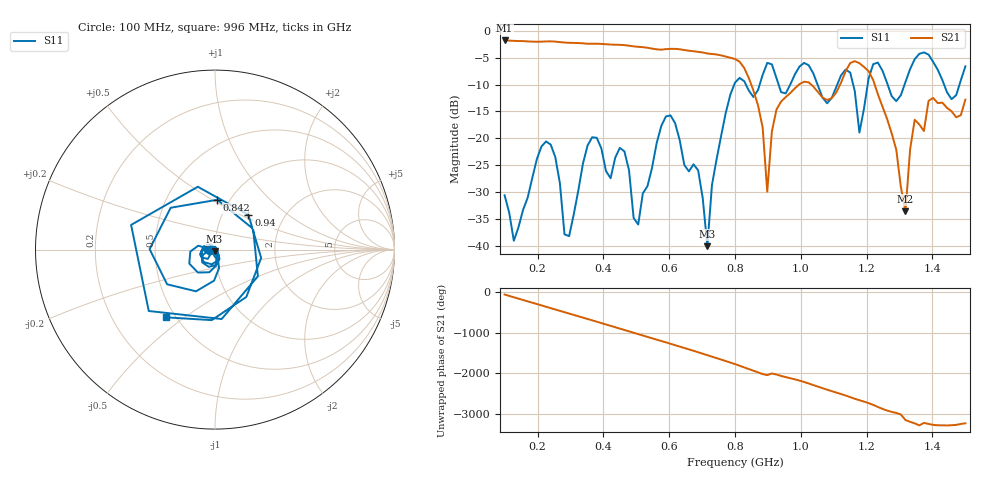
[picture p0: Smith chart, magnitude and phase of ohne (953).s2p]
! NanoVNA-App
! Date: 2025-09-25 14:28:13
! Start: 100MHz Stop: 1,5GHz Points: 101
! S-Parameter data: F S11 S21 S12 S22
# Hz S RI R 50
!  Frequency  S11_Real  S11_Imag  S21_Real  S21_Imag  S12_Real  S12_Imag  S22_Real  S22_Imag
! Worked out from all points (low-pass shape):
!   101 points, 100 MHz to 1.5 GHz, reference 50 ohm
!   highest |S21| = -1.79 dB at 100 MHz (marker M1); lowest = -33.6 dB at 1.318 GHz (marker M2)
!   |S21| within 3 dB of the highest: start of sweep to 771.8 MHz
!   lowest |S11| = -40.1 dB at 716 MHz (marker M3), VSWR 1.02, Z = 49.7 - j0.948 ohm
!   |S11| at or under -10 dB: start of sweep to 797.8 MHz; 833 MHz to 875.1 MHz (42.07 MHz wide, 4.93 % of centre); 1.051 GHz to 1.111 GHz (60.12 MHz wide, 5.56 % of centre) (the widest 3 of 7)
!   S12 and S22 are empty: the file has one direction only
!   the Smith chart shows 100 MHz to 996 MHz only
!   S11 on the Smith chart (normalised r, x): 100 MHz: 0.94, -0.01; 842 MHz: 0.88, +0.53; 940 MHz: 1.32, +0.55; 996 MHz: 0.44, -0.43
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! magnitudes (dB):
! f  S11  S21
! 100 MHz  -30.6  -1.8
! 128 MHz  -39.1  -1.9
! 226 MHz  -20.6  -2.0
! 296 MHz  -38.2  -2.2
! 338 MHz  -24.7  -2.3
! 464 MHz  -22.5  -2.7
! 506 MHz  -36.1  -3.0
! 576 MHz  -17.7  -3.5
! 688 MHz  -26.0  -3.9
! 716 MHz  -40.1  -4.2
! 800 MHz  -9.6  -5.2
! 842 MHz  -11.1  -8.8
! 898 MHz  -6.0  -30.0
! 940 MHz  -11.4  -13.2
! 996 MHz  -6.6  -9.9
! 1.038 GHz  -7.9  -10.4
! 1.178 GHz  -19.0  -6.0
! 1.22 GHz  -6.2  -9.2
! 1.276 GHz  -12.2  -19.1
! 1.318 GHz  -9.5  -33.6
! 1.346 GHz  -5.3  -16.6
! 1.5 GHz  -6.6  -12.8
